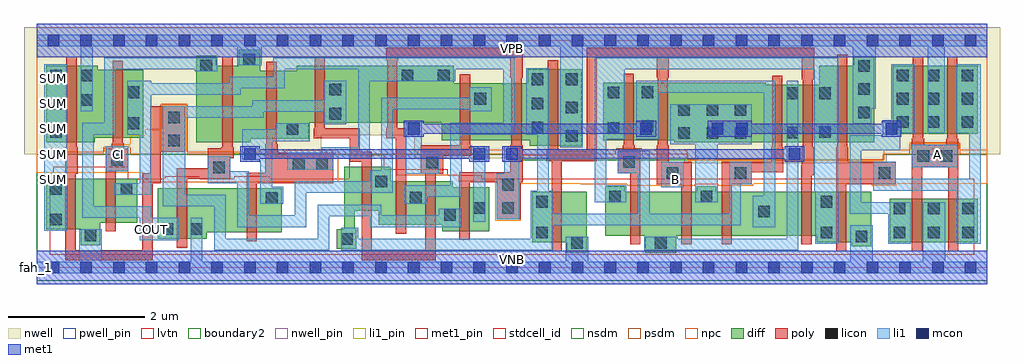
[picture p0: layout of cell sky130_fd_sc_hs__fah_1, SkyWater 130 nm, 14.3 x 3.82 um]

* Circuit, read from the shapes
.subckt sky130_fd_sc_hs__fah_1 A B CI COUT SUM VGND VNB VPB VPWR
XM1 VGND n1 SUM VNB sky130_fd_pr__nfet_01v8_lvt w=0.74 l=0.15
XM2 n2 CI VGND VNB sky130_fd_pr__nfet_01v8_lvt w=0.64 l=0.15
XM3 VGND n3 COUT VNB sky130_fd_pr__nfet_01v8_lvt w=0.74 l=0.15
XM4 n4 n2 VGND VNB sky130_fd_pr__nfet_01v8_lvt w=0.64 l=0.15
XM5 n3 n5 n6 VNB sky130_fd_pr__nfet_01v8_lvt w=0.64 l=0.15
XM6 n2 n7 n3 VNB sky130_fd_pr__nfet_01v8_lvt w=0.64 l=0.15
XM7 n1 n5 n2 VNB sky130_fd_pr__nfet_01v8_lvt w=0.64 l=0.15
XM8 n4 n7 n1 VNB sky130_fd_pr__nfet_01v8_lvt w=0.64 l=0.15
XM9 VGND B n6 VNB sky130_fd_pr__nfet_01v8_lvt w=0.74 l=0.15
XM10 n7 n6 n8 VNB sky130_fd_pr__nfet_01v8_lvt w=0.64 l=0.15
XM11 n9 B n7 VNB sky130_fd_pr__nfet_01v8_lvt w=0.64 l=0.15
XM12 n5 n6 n9 VNB sky130_fd_pr__nfet_01v8_lvt w=0.64 l=0.15
XM13 n8 B n5 VNB sky130_fd_pr__nfet_01v8_lvt w=0.64 l=0.15
XM14 VGND n10 n8 VNB sky130_fd_pr__nfet_01v8_lvt w=0.74 l=0.15
XM15 VGND A n9 VNB sky130_fd_pr__nfet_01v8_lvt w=0.64 l=0.15
XM16 n10 A VGND VNB sky130_fd_pr__nfet_01v8_lvt w=0.64 l=0.15
XM17 VPWR n1 SUM VPB sky130_fd_pr__pfet_01v8 w=1.12 l=0.15
XM18 n2 CI VPWR VPB sky130_fd_pr__pfet_01v8 w=1 l=0.15
XM19 VPWR n3 COUT VPB sky130_fd_pr__pfet_01v8 w=1.12 l=0.15
XM20 n4 n2 VPWR VPB sky130_fd_pr__pfet_01v8 w=1 l=0.15
XM21 n1 n5 n4 VPB sky130_fd_pr__pfet_01v8 w=0.84 l=0.15
XM22 n2 n7 n1 VPB sky130_fd_pr__pfet_01v8 w=0.84 l=0.15
XM23 n3 n5 n2 VPB sky130_fd_pr__pfet_01v8 w=0.84 l=0.15
XM24 n6 n7 n3 VPB sky130_fd_pr__pfet_01v8 w=0.84 l=0.15
XM25 VPWR B n6 VPB sky130_fd_pr__pfet_01v8 w=1.12 l=0.15
XM26 n5 n6 n8 VPB sky130_fd_pr__pfet_01v8 w=0.84 l=0.15
XM27 n9 B n5 VPB sky130_fd_pr__pfet_01v8 w=0.84 l=0.15
XM28 n7 n6 n9 VPB sky130_fd_pr__pfet_01v8 w=0.84 l=0.15
XM29 n8 B n7 VPB sky130_fd_pr__pfet_01v8 w=0.84 l=0.15
XM30 VPWR n10 n8 VPB sky130_fd_pr__pfet_01v8 w=1.12 l=0.15
XM31 VPWR A n9 VPB sky130_fd_pr__pfet_01v8 w=1 l=0.15
XM32 n10 A VPWR VPB sky130_fd_pr__pfet_01v8 w=1 l=0.15
.ends

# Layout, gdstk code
import gdstk
lib = gdstk.Library(unit=1e-6, precision=1e-09)
def R(c, l, rs):  # rectangles x0, y0, x1, y1
    for r in rs: c.add(gdstk.rectangle(r[:2], r[2:], *l))
def A(c, l, x, y, w, h, nx, ny, dx, dy):  # array of equal rectangles
    R(c, l, [(x+i*dx, y+j*dy, x+i*dx+w, y+j*dy+h) for i in range(nx) for j in range(ny)])
def P(c, l, *ps):  # polygons
    for p in ps: c.add(gdstk.Polygon(p, *l))
nwell_pin = (64, 16)
nwell = (64, 20)
diff = (65, 20)
poly = (66, 20)
licon = (66, 44)
li1_pin = (67, 16)
li1 = (67, 20)
mcon = (67, 44)
met1_pin = (68, 16)
met1 = (68, 20)
stdcell_id = (81, 4)
nsdm = (93, 44)
psdm = (94, 20)
npc = (95, 20)
pwell_pin = (122, 16)
lvtn = (125, 44)
boundary2 = (236, 0)

sky130_fd_sc_hs__fah_1 = lib.new_cell('sky130_fd_sc_hs__fah_1')
R(sky130_fd_sc_hs__fah_1, nwell_pin, [(0,3.085,13.92,3.33)])
P(sky130_fd_sc_hs__fah_1, nwell, [(9.485,1.53),(9.485,1.605),(5.525,1.605),(5.525,1.94),(4.165,1.94),(4.165,1.66),(-0.19,1.66),(-0.19,3.52),(14.11,3.52),(14.11,1.66),(12.45,1.66),(12.45,1.53)])
R(sky130_fd_sc_hs__fah_1, diff, [(12.495,0.37,13.785,1.01), (12.54,1.96,13.785,2.96)])
P(sky130_fd_sc_hs__fah_1, diff, [(0.64,0.33),(0.64,0.56),(0.135,0.56),(0.135,1.3),(1.47,1.3),(1.47,0.66),(0.93,0.66),(0.93,0.33)],
  [(0.135,1.84),(0.135,2.96),(0.89,2.96),(0.89,2.9),(1.555,2.9),(1.555,1.9),(0.845,1.9),(0.845,1.84)],
  [(1.77,0.42),(1.77,1.16),(3.295,1.16),(3.295,1.165),(3.585,1.165),(3.585,0.52),(2.485,0.52),(2.485,0.42)],
  [(4.395,0.275),(4.395,0.565),(4.505,0.565),(4.505,1.475),(5.185,1.475),(5.185,1.265),(6.09,1.265),(6.09,1.175),(6.625,1.175),(6.625,0.535),(5.94,0.535),(5.94,0.625),(5.01,0.625),(5.01,0.835),(4.655,0.835),(4.655,0.565),(4.68,0.565),(4.68,0.275)],
  [(7.22,1.785),(7.22,1.865),(5.93,1.865),(5.93,2.12),(3.98,2.12),(3.98,1.885),(3.13,1.885),(3.13,1.84),(2.335,1.84),(2.335,3.105),(2.625,3.105),(2.625,2.96),(2.955,2.96),(2.955,3.195),(3.27,3.195),(3.27,2.885),(3.805,2.885),(3.805,2.96),(6.105,2.96),(6.105,2.705),(7.19,2.705),(7.19,2.905),(7.98,2.905),(7.98,1.785)],
  [(7.765,0.22),(7.765,0.37),(7.255,0.37),(7.255,1.11),(8.055,1.11),(8.055,0.22)],
  [(8.915,0.22),(8.915,0.47),(8.325,0.47),(8.325,1.19),(8.615,1.19),(8.615,1.11),(9.665,1.11),(9.665,1.19),(9.955,1.19),(9.955,1.11),(12.225,1.11),(12.225,0.31),(11.935,0.31),(11.935,0.37),(11.425,0.37),(11.425,0.47),(9.365,0.47),(9.365,0.22)],
  [(9.335,1.84),(9.335,1.87),(8.3,1.87),(8.3,2.71),(10.68,2.71),(10.68,2.68),(11.46,2.68),(11.46,2.96),(11.965,2.96),(11.965,3.1),(12.27,3.1),(12.27,1.84)])
P(sky130_fd_sc_hs__fah_1, poly, [(11.71,0.24),(11.71,1.765),(11.725,1.765),(11.725,3.12),(11.875,3.12),(11.875,1.765),(11.89,1.765),(11.89,1.55),(12.58,1.55),(12.58,1.22),(11.86,1.22),(11.86,0.24)],
  [(12.82,0.24),(12.82,1.885),(12.835,1.885),(12.835,3.09),(12.985,3.09),(12.985,1.885),(13,1.885),(13,1.8),(13.32,1.8),(13.32,1.885),(13.335,1.885),(13.335,3.09),(13.485,3.09),(13.485,1.885),(13.5,1.885),(13.5,0.24),(13.35,0.24),(13.35,1.47),(12.97,1.47),(12.97,0.24)],
  [(10.03,0.34),(10.03,1.55),(10.755,1.55),(10.755,1.765),(10.77,1.765),(10.77,2.815),(10.92,2.815),(10.92,1.765),(10.935,1.765),(10.935,1.4),(10.475,1.4),(10.475,1.22),(10.18,1.22),(10.18,0.34)],
  [(7.54,0.24),(7.54,1.56),(7.47,1.56),(7.47,1.71),(7.485,1.71),(7.485,3.035),(7.635,3.035),(7.635,1.71),(8.055,1.71),(8.055,3.225),(11.385,3.225),(11.385,2.76),(11.37,2.76),(11.37,1.765),(11.385,1.765),(11.385,1.35),(11.35,1.35),(11.35,0.34),(11.2,0.34),(11.2,1.5),(11.205,1.5),(11.205,1.765),(11.22,1.765),(11.22,2.76),(11.205,2.76),(11.205,3.075),(9.26,3.075),(9.26,2.785),(9.245,2.785),(9.245,1.795),(9.26,1.795),(9.26,1.55),(9.59,1.55),(9.59,0.34),(9.44,0.34),(9.44,1.22),(9.08,1.22),(9.08,1.795),(9.095,1.795),(9.095,2.785),(9.08,2.785),(9.08,3.075),(8.205,3.075),(8.205,1.56),(7.69,1.56),(7.69,0.24)],
  [(1.005,0.53),(1.005,1.74),(1.095,1.74),(1.095,1.825),(1.11,1.825),(1.11,3.03),(1.26,3.03),(1.26,1.825),(1.275,1.825),(1.275,1.74),(1.335,1.74),(1.335,1.41),(1.155,1.41),(1.155,0.53)],
  [(0.415,0.105),(0.415,1.765),(0.43,1.765),(0.43,3.09),(0.58,3.09),(0.58,1.765),(0.595,1.765),(0.595,1.375),(0.565,1.375),(0.565,0.255),(1.545,0.255),(1.545,1.385),(1.66,1.385),(1.66,2.365),(2.175,2.365),(2.175,1.695),(1.81,1.695),(1.81,1.235),(1.695,1.235),(1.695,0.105)],
  [(2.05,0.29),(2.05,1.455),(2.5,1.455),(2.5,1.75),(2.7,1.75),(2.7,1.765),(2.715,1.765),(2.715,3.09),(2.865,3.09),(2.865,1.765),(2.88,1.765),(2.88,1.6),(2.83,1.6),(2.83,1.305),(2.2,1.305),(2.2,0.29)],
  [(3.07,0.39),(3.07,1.39),(3.345,1.39),(3.345,1.81),(3.36,1.81),(3.36,3.015),(3.51,3.015),(3.51,1.81),(3.525,1.81),(3.525,1.685),(4.34,1.685),(4.34,1.24),(3.22,1.24),(3.22,0.39)],
  [(4.755,0.105),(4.755,1.55),(4.58,1.55),(4.58,1.895),(4.055,1.895),(4.055,2.045),(4.07,2.045),(4.07,3.09),(4.22,3.09),(4.22,2.045),(4.73,2.045),(4.73,1.7),(4.905,1.7),(4.905,0.255),(5.69,0.255),(5.69,1.375),(5.62,1.375),(5.62,1.79),(6.195,1.79),(6.195,2.835),(6.345,2.835),(6.345,1.79),(6.36,1.79),(6.36,1.64),(5.95,1.64),(5.95,1.375),(5.84,1.375),(5.84,0.105)],
  [(6.19,0.405),(6.19,1.4),(6.935,1.4),(6.935,1.79),(6.95,1.79),(6.95,2.78),(6.935,2.78),(6.935,3.075),(5.295,3.075),(5.295,3.035),(5.28,3.035),(5.28,2.045),(5.41,2.045),(5.41,0.495),(5.26,0.495),(5.26,1.895),(5.115,1.895),(5.115,2.045),(5.13,2.045),(5.13,3.035),(5.115,3.035),(5.115,3.225),(7.115,3.225),(7.115,2.78),(7.1,2.78),(7.1,1.79),(7.115,1.79),(7.115,1.25),(7.085,1.25),(7.085,0.71),(6.735,0.71),(6.735,1.25),(6.34,1.25),(6.34,0.405)],
  [(8.69,0.34),(8.69,1.38),(8.51,1.38),(8.51,1.71),(8.58,1.71),(8.58,1.795),(8.595,1.795),(8.595,2.84),(8.745,2.84),(8.745,1.795),(8.76,1.795),(8.76,1.71),(8.84,1.71),(8.84,0.34)])
A(sky130_fd_sc_hs__fah_1, licon, 12.555, 0.43, 0.17, 0.17, 3, 2, 0.5, 0.35)
A(sky130_fd_sc_hs__fah_1, licon, 7.75, 1.845, 0.17, 0.17, 1, 3, 0, 0.415)
A(sky130_fd_sc_hs__fah_1, licon, 9.395, 1.885, 0.17, 0.17, 3, 2, 0.415, 0.34)
A(sky130_fd_sc_hs__fah_1, licon, 0.195, 1.9, 0.17, 0.17, 1, 3, 0, 0.415)
A(sky130_fd_sc_hs__fah_1, licon, 7.25, 1.965, 0.17, 0.17, 1, 3, 0, 0.355)
A(sky130_fd_sc_hs__fah_1, licon, 12.6, 2.05, 0.17, 0.17, 1, 3, 0, 0.34)
A(sky130_fd_sc_hs__fah_1, licon, 13.05, 2.05, 0.17, 0.17, 1, 3, 0, 0.34)
A(sky130_fd_sc_hs__fah_1, licon, 13.55, 2.05, 0.17, 0.17, 1, 3, 0, 0.34)
A(sky130_fd_sc_hs__fah_1, licon, 12.03, 2.19, 0.17, 0.17, 1, 3, 0, 0.34)
R(sky130_fd_sc_hs__fah_1, licon, [(7.825,0.28,7.995,0.45), (9.055,0.28,9.225,0.45), (4.455,0.335,4.625,0.505), (11.995,0.37,12.165,0.54), (0.7,0.39,0.87,0.56), (7.315,0.43,7.485,0.6), (11.485,0.43,11.655,0.6), (1.825,0.48,1.995,0.65), (2.255,0.48,2.425,0.65), (0.19,0.62,0.36,0.79), (5.965,0.69,6.135,0.86), (10.565,0.735,10.735,0.905), (6.395,0.79,6.565,0.96), (6.815,0.79,6.985,0.96), (7.315,0.88,7.485,1.05), (11.485,0.88,11.655,1.05), (3.355,0.935,3.525,1.105), (5.465,0.945,5.635,1.115), (8.385,0.96,8.555,1.13), (9.725,0.96,9.895,1.13), (0.19,1.07,0.36,1.24), (1.225,1.07,1.395,1.24), (6.815,1.13,6.985,1.3), (4.96,1.175,5.13,1.345), (9.225,1.3,9.395,1.47), (10.225,1.3,10.395,1.47), (12.33,1.3,12.5,1.47), (2.58,1.385,2.75,1.555), (3.75,1.435,3.92,1.605), (4.09,1.435,4.26,1.605), (5.7,1.455,5.87,1.625), (8.59,1.46,8.76,1.63), (1.085,1.49,1.255,1.66), (12.9,1.55,13.07,1.72), (13.24,1.55,13.41,1.72), (1.925,1.775,2.095,1.945), (10.985,1.895,11.155,2.065), (11.46,1.905,11.63,2.075), (3.66,1.945,3.83,2.115), (8.36,1.96,8.53,2.13), (8.86,1.99,9.03,2.16), (1.325,2.03,1.495,2.2), (1.925,2.115,2.095,2.285), (4.285,2.17,4.455,2.34), (0.645,2.37,0.815,2.54), (6.41,2.39,6.58,2.56), (10.985,2.47,11.155,2.64), (11.46,2.47,11.63,2.64), (8.36,2.48,8.53,2.65), (1.325,2.485,1.495,2.655), (8.86,2.485,9.03,2.655), (4.285,2.525,4.455,2.695), (0.645,2.73,0.815,2.9), (5.345,2.73,5.515,2.9), (5.875,2.73,6.045,2.9), (2.395,2.875,2.565,3.045), (3.025,2.965,3.195,3.135)])
A(sky130_fd_sc_hs__fah_1, li1_pin, 0.155, 1.21, 0.17, 0.17, 1, 5, 0, 0.37)
R(sky130_fd_sc_hs__fah_1, li1_pin, [(1.595,0.47,1.765,0.64), (9.275,1.21,9.445,1.38), (1.115,1.58,1.285,1.75), (13.115,1.58,13.285,1.75)])
R(sky130_fd_sc_hs__fah_1, li1, [(0.11,0.54,0.445,2.98), (9.145,1.18,9.475,1.55), (1.005,1.41,1.335,1.78), (12.82,1.47,13.49,1.8)])
P(sky130_fd_sc_hs__fah_1, li1, [(0,-0.085),(0,0.085),(0.62,0.085),(0.62,0.56),(0.95,0.56),(0.95,0.085),(2.255,0.085),(2.255,0.73),(2.425,0.73),(2.425,0.085),(7.745,0.085),(7.745,0.45),(8.075,0.45),(8.075,0.085),(11.915,0.085),(11.915,0.62),(12.245,0.62),(12.245,0.085),(12.975,0.085),(12.975,0.96),(13.305,0.96),(13.305,0.085),(13.92,0.085),(13.92,-0.085)],
  [(7.67,1.765),(7.67,3.245),(3.29,3.245),(3.29,2.965),(2.935,2.965),(2.935,3.245),(0.815,3.245),(0.815,2.29),(0.645,2.29),(0.645,3.245),(0,3.245),(0,3.415),(13.92,3.415),(13.92,3.245),(13.3,3.245),(13.3,1.97),(13.05,1.97),(13.05,3.245),(12.29,3.245),(12.29,2.33),(12.22,2.33),(12.22,2.11),(11.95,2.11),(11.95,3.245),(8,3.245),(8,1.765)],
  [(1.505,0.4),(1.505,0.73),(0.665,0.73),(0.665,2.12),(0.985,2.12),(0.985,3.075),(2.645,3.075),(2.645,2.875),(2.315,2.875),(2.315,2.905),(1.155,2.905),(1.155,1.95),(0.835,1.95),(0.835,0.9),(1.675,0.9),(1.675,0.73),(2.075,0.73),(2.075,0.4)],
  [(10.485,0.595),(10.485,1.05),(10.645,1.05),(10.645,2.565),(9.11,2.565),(9.11,1.88),(8.78,1.88),(8.78,2.735),(10.815,2.735),(10.815,0.595)],
  [(8.895,0.255),(8.895,0.45),(9.385,0.45),(9.385,0.425),(10.985,0.425),(10.985,2.735),(11.155,2.735),(11.155,1.78),(11.215,1.78),(11.215,1.55),(11.155,1.55),(11.155,0.255)],
  [(13.475,0.35),(13.475,1.13),(12.25,1.13),(12.25,1.55),(12.58,1.55),(12.58,1.3),(13.66,1.3),(13.66,1.97),(13.47,1.97),(13.47,2.98),(13.83,2.98),(13.83,0.35)],
  [(4.455,0.255),(4.455,0.585),(4.705,0.585),(4.705,0.425),(7.235,0.425),(7.235,1.13),(7.33,1.13),(7.33,1.95),(7.17,1.95),(7.17,2.925),(7.5,2.925),(7.5,1.13),(7.565,1.13),(7.565,0.79),(8.805,0.79),(8.805,1.38),(8.51,1.38),(8.51,1.71),(8.975,1.71),(8.975,0.79),(10.145,0.79),(10.145,1.55),(10.475,1.55),(10.475,1.22),(10.315,1.22),(10.315,0.62),(7.565,0.62),(7.565,0.255)],
  [(5.385,0.935),(5.385,1.205),(6.055,1.205),(6.055,2.12),(6.83,2.12),(6.83,2.905),(6.125,2.905),(6.125,2.73),(4.875,2.73),(4.875,1.595),(4.34,1.595),(4.34,1.435),(3.67,1.435),(3.67,1.685),(4.17,1.685),(4.17,1.765),(4.705,1.765),(4.705,2.905),(3.63,2.905),(3.63,2.625),(2.985,2.625),(2.985,2.535),(1.675,2.535),(1.675,1.07),(1.13,1.07),(1.13,1.24),(1.505,1.24),(1.505,1.95),(1.325,1.95),(1.325,2.735),(1.675,2.735),(1.675,2.705),(2.815,2.705),(2.815,2.795),(3.46,2.795),(3.46,3.075),(7,3.075),(7,1.95),(6.225,1.95),(6.225,1.035),(5.715,1.035),(5.715,0.935)],
  [(6.395,0.67),(6.395,1.78),(6.595,1.78),(6.595,1.55),(6.565,1.55),(6.565,0.67)],
  [(2.595,0.255),(2.595,0.9),(1.845,0.9),(1.845,2.365),(3.155,2.365),(3.155,2.455),(4.205,2.455),(4.205,2.735),(4.535,2.735),(4.535,2.1),(4.205,2.1),(4.205,2.285),(3.325,2.285),(3.325,2.195),(2.175,2.195),(2.175,1.07),(2.765,1.07),(2.765,0.425),(4.115,0.425),(4.115,0.925),(5.045,0.925),(5.045,0.765),(5.885,0.765),(5.885,0.865),(6.215,0.865),(6.215,0.595),(4.875,0.595),(4.875,0.755),(4.285,0.755),(4.285,0.255)],
  [(2.935,0.595),(2.935,1.24),(2.5,1.24),(2.5,1.635),(2.83,1.635),(2.83,1.41),(3.105,1.41),(3.105,0.765),(3.775,0.765),(3.775,1.265),(4.88,1.265),(4.88,1.425),(5.045,1.425),(5.045,2.49),(6.33,2.49),(6.33,2.64),(6.66,2.64),(6.66,2.29),(6.33,2.29),(6.33,2.32),(5.215,2.32),(5.215,1.095),(3.945,1.095),(3.945,0.595)],
  [(11.405,0.35),(11.405,1.13),(11.385,1.13),(11.385,2.905),(8.61,2.905),(8.61,1.88),(8.34,1.88),(8.34,1.21),(8.635,1.21),(8.635,0.96),(8.17,0.96),(8.17,3.075),(11.74,3.075),(11.74,0.35)],
  [(6.735,0.71),(6.735,1.38),(6.845,1.38),(6.845,1.78),(7.075,1.78),(7.075,1.55),(7.065,1.55),(7.065,0.71)],
  [(5.405,1.375),(5.405,2.15),(5.635,2.15),(5.635,1.705),(5.885,1.705),(5.885,1.375)],
  [(3.275,0.935),(3.275,1.58),(3.005,1.58),(3.005,2.025),(3.495,2.025),(3.495,2.115),(4,2.115),(4,1.855),(3.445,1.855),(3.445,1.185),(3.605,1.185),(3.605,0.935)],
  [(9.645,0.96),(9.645,1.805),(9.28,1.805),(9.28,2.395),(10.475,2.395),(10.475,1.805),(9.975,1.805),(9.975,0.96)],
  [(12.475,0.35),(12.475,0.79),(11.91,0.79),(11.91,1.94),(12.39,1.94),(12.39,2.16),(12.52,2.16),(12.52,2.98),(12.85,2.98),(12.85,1.97),(12.65,1.97),(12.65,1.72),(12.08,1.72),(12.08,0.96),(12.805,0.96),(12.805,0.35)])
A(sky130_fd_sc_hs__fah_1, mcon, 0.155, -0.085, 0.17, 0.17, 29, 2, 0.48, 3.33)
R(sky130_fd_sc_hs__fah_1, mcon, [(3.035,1.58,3.205,1.75), (6.395,1.58,6.565,1.75), (6.875,1.58,7.045,1.75), (11.015,1.58,11.185,1.75), (5.435,1.95,5.605,2.12), (8.84,1.95,9.01,2.12), (9.885,1.95,10.055,2.12), (10.245,1.95,10.415,2.12), (12.435,1.95,12.605,2.12)])
R(sky130_fd_sc_hs__fah_1, met1_pin, [(0,0,13.92,0.245), (0,3.085,13.92,3.33)])
R(sky130_fd_sc_hs__fah_1, met1, [(0,-0.245,13.92,0.245), (0,3.085,13.92,3.575)])
P(sky130_fd_sc_hs__fah_1, met1, [(2.975,1.55),(2.975,1.78),(3.265,1.78),(3.265,1.735),(6.335,1.735),(6.335,1.78),(6.625,1.78),(6.625,1.55),(6.335,1.55),(6.335,1.595),(3.265,1.595),(3.265,1.55)],
  [(5.375,1.92),(5.375,2.15),(5.665,2.15),(5.665,2.105),(8.78,2.105),(8.78,2.15),(9.07,2.15),(9.07,1.92),(8.78,1.92),(8.78,1.965),(5.665,1.965),(5.665,1.92)],
  [(6.815,1.55),(6.815,1.78),(7.105,1.78),(7.105,1.735),(10.955,1.735),(10.955,1.78),(11.245,1.78),(11.245,1.55),(10.955,1.55),(10.955,1.595),(7.105,1.595),(7.105,1.55)],
  [(9.825,1.92),(9.825,2.15),(10.475,2.15),(10.475,2.105),(12.375,2.105),(12.375,2.15),(12.665,2.15),(12.665,1.92),(12.375,1.92),(12.375,1.965),(10.475,1.965),(10.475,1.92)])
R(sky130_fd_sc_hs__fah_1, stdcell_id, [(0,0,13.92,3.33)])
P(sky130_fd_sc_hs__fah_1, nsdm, [(0,-0.19),(0,1.66),(7.09,1.66),(7.09,1.58),(12.4,1.58),(12.4,1.66),(13.92,1.66),(13.92,-0.19)])
P(sky130_fd_sc_hs__fah_1, psdm, [(9.535,1.58),(9.535,1.66),(8.87,1.66),(8.87,1.74),(8.48,1.74),(8.48,1.66),(8.11,1.66),(8.11,1.655),(7.09,1.655),(7.09,1.66),(5.98,1.66),(5.98,1.735),(5.59,1.735),(5.59,1.66),(4.37,1.66),(4.37,1.715),(3.64,1.715),(3.64,1.66),(2.86,1.66),(2.86,1.665),(2.205,1.665),(2.205,2.395),(1.815,2.395),(1.815,1.66),(1.365,1.66),(1.365,1.77),(0.975,1.77),(0.975,1.66),(0,1.66),(0,3.52),(13.92,3.52),(13.92,1.66),(13.52,1.66),(13.52,1.83),(12.79,1.83),(12.79,1.66),(12.4,1.66),(12.4,1.58)])
P(sky130_fd_sc_hs__fah_1, npc, [(1.56,1.25),(1.56,1.39),(0,1.39),(0,1.7),(0.985,1.7),(0.985,1.76),(1.09,1.76),(1.09,1.81),(1.365,1.81),(1.365,1.94),(1.585,1.94),(1.585,2.025),(1.825,2.025),(1.825,2.385),(2.195,2.385),(2.195,1.7),(3.27,1.7),(3.27,1.73),(4.415,1.73),(4.415,1.255),(3.205,1.255),(3.205,1.25)],
  [(6.715,0.69),(6.715,1.265),(6.18,1.265),(6.18,1.355),(5.275,1.355),(5.275,1.73),(5.79,1.73),(5.79,1.725),(7.08,1.725),(7.08,1.645),(8.12,1.645),(8.12,1.73),(9.525,1.73),(9.525,1.57),(12.41,1.57),(12.41,1.73),(12.8,1.73),(12.8,1.82),(13.51,1.82),(13.51,1.73),(13.92,1.73),(13.92,1.23),(12.6,1.23),(12.6,1.2),(12.23,1.2),(12.23,1.23),(10.495,1.23),(10.495,1.2),(9.985,1.2),(9.985,1.22),(9.635,1.22),(9.635,1.2),(8.645,1.2),(8.645,1.22),(7.97,1.22),(7.97,1.23),(7.085,1.23),(7.085,0.69)])
R(sky130_fd_sc_hs__fah_1, pwell_pin, [(0,0,13.92,0.245)])
P(sky130_fd_sc_hs__fah_1, lvtn, [(0.19,0.19),(0.19,1.3),(0.235,1.3),(0.235,1.48),(1.335,1.48),(1.335,1.3),(1.87,1.3),(1.87,1.34),(2.38,1.34),(2.38,1.3),(2.89,1.3),(2.89,1.34),(3.4,1.34),(3.4,1.3),(4.575,1.3),(4.575,1.655),(5.085,1.655),(5.085,1.445),(6.02,1.445),(6.02,1.355),(6.52,1.355),(6.52,1.3),(13.73,1.3),(13.73,0.19)])
R(sky130_fd_sc_hs__fah_1, boundary2, [(0,0,13.92,3.33)])
sky130_fd_sc_hs__fah_1.add(gdstk.Label('fah_1', (0,0), layer=83, texttype=44))
sky130_fd_sc_hs__fah_1.add(gdstk.Label('VNB', (6.96,0.123), layer=64, texttype=59))
sky130_fd_sc_hs__fah_1.add(gdstk.Label('VPB', (6.96,3.208), layer=64, texttype=5))
sky130_fd_sc_hs__fah_1.add(gdstk.Label('VPWR', (6.96,3.208), layer=68, texttype=5))
sky130_fd_sc_hs__fah_1.add(gdstk.Label('VGND', (6.96,0.123), layer=68, texttype=5))
sky130_fd_sc_hs__fah_1.add(gdstk.Label('A', (13.2,1.665), layer=67, texttype=5))
sky130_fd_sc_hs__fah_1.add(gdstk.Label('CI', (1.2,1.665), layer=67, texttype=5))
sky130_fd_sc_hs__fah_1.add(gdstk.Label('SUM', (0.24,1.295), layer=67, texttype=5))
sky130_fd_sc_hs__fah_1.add(gdstk.Label('SUM', (0.24,1.665), layer=67, texttype=5))
sky130_fd_sc_hs__fah_1.add(gdstk.Label('SUM', (0.24,2.035), layer=67, texttype=5))
sky130_fd_sc_hs__fah_1.add(gdstk.Label('SUM', (0.24,2.405), layer=67, texttype=5))
sky130_fd_sc_hs__fah_1.add(gdstk.Label('SUM', (0.24,2.775), layer=67, texttype=5))
sky130_fd_sc_hs__fah_1.add(gdstk.Label('COUT', (1.68,0.555), layer=67, texttype=5))
sky130_fd_sc_hs__fah_1.add(gdstk.Label('B', (9.36,1.295), layer=67, texttype=5))

lib.write_gds('sky130_fd_sc_hs__fah_1.gds')
